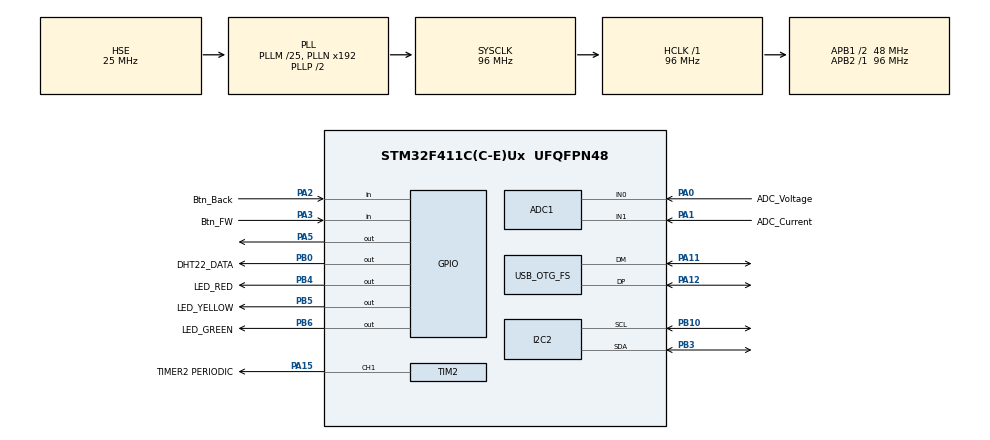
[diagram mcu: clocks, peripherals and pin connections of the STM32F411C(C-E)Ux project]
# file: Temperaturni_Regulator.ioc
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ADC1.Channel-1\#ChannelRegularConversion=ADC_CHANNEL_0
ADC1.Channel-2\#ChannelRegularConversion=ADC_CHANNEL_1
ADC1.Channel-5\#ChannelRegularConversion=ADC_CHANNEL_TEMPSENSOR
ADC1.DiscontinuousConvMode=ENABLE
ADC1.NbrOfConversion=3
ADC1.NbrOfConversionFlag=1
ADC1.NbrOfDiscConversion=3
ADC1.Rank-1\#ChannelRegularConversion=1
ADC1.Rank-2\#ChannelRegularConversion=2
ADC1.Rank-5\#ChannelRegularConversion=3
ADC1.SamplingTime-1\#ChannelRegularConversion=ADC_SAMPLETIME_112CYCLES
ADC1.SamplingTime-2\#ChannelRegularConversion=ADC_SAMPLETIME_112CYCLES
ADC1.SamplingTime-5\#ChannelRegularConversion=ADC_SAMPLETIME_480CYCLES
ADC1.master=1
Mcu.Family=STM32F4
Mcu.Name=STM32F411C(C-E)Ux
Mcu.Package=UFQFPN48
NVIC.OTG_FS_IRQn=true\:0\:0\:false\:false\:true\:true\:true\:true
NVIC.PriorityGroup=NVIC_PRIORITYGROUP_4
NVIC.TIM2_IRQn=true\:3\:0\:true\:false\:true\:true\:true\:true
NVIC.TIM3_IRQn=true\:0\:0\:false\:false\:true\:true\:true\:true
PA0-WKUP.GPIO_Label=ADC_Voltage
PA0-WKUP.Signal=ADCx_IN0
PA1.GPIO_Label=ADC_Current
PA1.Signal=ADCx_IN1
PA11.Mode=Device_Only
PA11.Signal=USB_OTG_FS_DM
PA12.Mode=Device_Only
PA12.Signal=USB_OTG_FS_DP
PA13.Mode=Serial_Wire
PA13.Signal=SYS_JTMS-SWDIO
PA14.Mode=Serial_Wire
PA14.Signal=SYS_JTCK-SWCLK
PA15.GPIO_Label=TIMER2 PERIODIC
PA15.Signal=S_TIM2_CH1_ETR
PA2.GPIO_Label=Btn_Back
PA2.Signal=GPIO_Input
PA3.GPIO_Label=Btn_FW
PA3.Signal=GPIO_Input
PA5.Signal=GPIO_Output
PB0.GPIO_Label=DHT22_DATA
PB0.GPIO_ModeDefaultOutputPP=GPIO_MODE_OUTPUT_OD
PB0.GPIO_PuPd=GPIO_PULLUP
PB0.GPIO_Speed=GPIO_SPEED_FREQ_HIGH
PB0.Signal=GPIO_Output
PB10.GPIO_Pu=GPIO_PULLUP
PB10.GPIO_Speed=GPIO_SPEED_FREQ_MEDIUM
PB10.Mode=I2C
PB10.Signal=I2C2_SCL
PB3.GPIO_Pu=GPIO_PULLUP
PB3.GPIO_Speed=GPIO_SPEED_FREQ_MEDIUM
PB3.Mode=I2C
PB3.Signal=I2C2_SDA
PB4.GPIO_Label=LED_RED
PB4.GPIO_Speed=GPIO_SPEED_FREQ_VERY_HIGH
PB4.Signal=GPIO_Output
PB5.GPIO_Label=LED_YELLOW
PB5.GPIO_Speed=GPIO_SPEED_FREQ_VERY_HIGH
PB5.Signal=GPIO_Output
PB6.GPIO_Label=LED_GREEN
PB6.GPIO_Speed=GPIO_SPEED_FREQ_VERY_HIGH
PB6.Signal=GPIO_Output
PH0\ -\ OSC_IN.Mode=HSE-External-Oscillator
PH0\ -\ OSC_IN.Signal=RCC_OSC_IN
PH1\ -\ OSC_OUT.Mode=HSE-External-Oscillator
PH1\ -\ OSC_OUT.Signal=RCC_OSC_OUT
ProjectManager.HeapSize=0x600
ProjectManager.StackSize=0x1000
ProjectManager.TargetToolchain=STM32CubeIDE
RCC.48MHZClocksFreq_Value=48000000
RCC.AHBFreq_Value=96000000
RCC.APB1CLKDivider=RCC_HCLK_DIV2
RCC.APB1Freq_Value=48000000
RCC.APB1TimFreq_Value=96000000
RCC.APB2Freq_Value=96000000
RCC.APB2TimFreq_Value=96000000
RCC.CortexFreq_Value=96000000
RCC.HCLKFreq_Value=96000000
RCC.HSE_VALUE=25000000
RCC.HSI_VALUE=16000000
RCC.LSE_VALUE=32768
RCC.PLLM=25
RCC.SYSCLKFreq_VALUE=96000000
RCC.SYSCLKSource=RCC_SYSCLKSOURCE_PLLCLK
RCC.VCOOutputFreq_Value=192000000
SH.ADCx_IN0.0=ADC1_IN0,IN0
SH.ADCx_IN1.0=ADC1_IN1,IN1
SH.S_TIM2_CH1_ETR.0=TIM2_CH1,PWM Generation1 CH1
TIM2.AutoReloadPreload=TIM_AUTORELOAD_PRELOAD_ENABLE
TIM2.Channel-PWM\ Generation1\ CH1=TIM_CHANNEL_1
TIM2.Period=19999
TIM2.Prescaler=99
TIM3.AutoReloadPreload=TIM_AUTORELOAD_PRELOAD_ENABLE
TIM3.Channel-Output\ Compare1\ No\ Output=TIM_CHANNEL_1
TIM3.Period=4999
TIM3.Prescaler=9999
USB_DEVICE.CLASS_NAME_FS=CDC
USB_DEVICE.MANUFACTURER_STRING=Joki
USB_DEVICE.PRODUCT_STRING_CDC_FS=STM32F411 Temperature Regulator by Joki
USB_DEVICE.VirtualMode=Cdc
USB_DEVICE.VirtualModeFS=Cdc_FS
USB_OTG_FS.VirtualMode=Device_Only
VP_ADC1_TempSens_Input.Mode=IN-TempSens
VP_ADC1_Vref_Input.Mode=IN-Vrefint
VP_TIM2_VS_ClockSourceINT.Mode=Internal
VP_TIM3_VS_ClockSourceINT.Mode=Internal
VP_TIM3_VS_no_output1.Mode=Output Compare1 No Output
VP_USB_DEVICE_VS_USB_DEVICE_CDC_FS.Mode=CDC_FS
board=custom

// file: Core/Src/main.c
/* USER CODE BEGIN Header */
/**
 ******************************************************************************
 * @file           : main.c
 * @brief          : Main program body
 ******************************************************************************
 * @attention
 *
 * Copyright (c) 2026 STMicroelectronics.
 * All rights reserved.
 *
 * This software is licensed under terms that can be found in the LICENSE file
 * in the root directory of this software component.
 * If no LICENSE file comes with this software, it is provided AS-IS.
 *
 ******************************************************************************
 */
/* USER CODE END Header */
#include "main.h"
#include "adc.h"
#include "i2c.h"
#include "tim.h"
#include "usb_device.h"
#include "gpio.h"

/* USER CODE BEGIN Includes */
#include "LCD/ssd1315.h"
#include "Sensors/dht22.h"
#include <stdio.h>
#include <stdbool.h>
#include "usbd_cdc_if.h"
/* USER CODE END Includes */

/* USER CODE BEGIN PV */
AppData_t guiData;
uint32_t last_tick;
DHT22_t dht_instance; //class ref
volatile _Bool trigger_adc_read;
volatile _Bool trigger_dht_read;
volatile _Bool usb_rx_buff_flag = 0;
volatile uint8_t usb_rx_buff[128];
volatile uint16_t usb_rx_buff_len;
/* USER CODE END PV */

void SystemClock_Config(void);

/* USER CODE BEGIN 0 */
void Usb_Rx_Draw(AppData_t *guiData) {
	if (usb_rx_buff_flag && usb_rx_buff_len > 0) {
		usb_rx_buff_flag = 0;
		usb_rx_buff[usb_rx_buff_len] = '\0';
		if (strncmp(usb_rx_buff, "T:", 2) == 0)
		{
			guiData->targetTemperature = strtof(&usb_rx_buff[2], NULL);
			guiData->currentState = STATE_TEMP_ADJUST;
		}
		else if (strncmp(usb_rx_buff, "H:", 2) == 0)
		{
			guiData->targetHumidity = strtof(&usb_rx_buff[2], NULL);
			guiData->currentState = STATE_HUM_ADJUST;
		}
		else if(strncmp(usb_rx_buff, "MenuTemp", 8) == 0)
		{
			guiData->currentState = STATE_TEMP_ADJUST;
		}
		else if(strncmp(usb_rx_buff, "MenuHum", 7) == 0)
		{
			guiData->currentState = STATE_HUM_ADJUST;
		}
		else if(strncmp(usb_rx_buff, "MenuPower", 9) == 0)
		{
			guiData->currentState = STATE_POWER;
		}
		else if(strncmp(usb_rx_buff, "MenuUsb", 7) == 0)
		{
			guiData->currentState = STATE_USB_RX;
		}
		else
		{
			guiData->currentState = STATE_USB_RX;
		}
		Menu_Draw(&hi2c2, &*guiData);
	}
}
void Dht_Read_Draw(DHT22_t *dht_instance) {
	if (trigger_dht_read && DHT22_Read(dht_instance)) {
		trigger_dht_read = 0;
		guiData.currentTemperature = dht_instance->temperature;
		guiData.currentHumidity = dht_instance->humidity;
		Menu_Draw(&hi2c2, &guiData);
		uint8_t usb_buf_temp[128];
		int len = sprintf((char*restrict) usb_buf_temp,
				"T:%.2f\n",
				guiData.currentTemperature);
		CDC_Transmit_FS((uint8_t*) usb_buf_temp, len);
		len = sprintf((char*restrict) usb_buf_temp,
				"H:%.2f\n",
				guiData.currentHumidity);
		CDC_Transmit_FS((uint8_t*) usb_buf_temp, len);

	}

	HAL_GPIO_WritePin(GPIOB, GPIO_PIN_4, guiData.targetTemperature > guiData.currentTemperature);
	HAL_GPIO_WritePin(GPIOB, GPIO_PIN_5, abs(guiData.targetTemperature - guiData.currentTemperature) < 1);
	HAL_GPIO_WritePin(GPIOB, GPIO_PIN_6, guiData.targetTemperature < guiData.currentTemperature);
}

void ADC_Read_Draw(volatile _Bool trigger_adc_read) {
	if (trigger_adc_read) {
		//12 bit adc
		trigger_adc_read = 0;
		uint32_t in0_val;
		uint32_t in1_val;
		uint32_t si_board_temp_val;
	    HAL_ADC_Start(&hadc1);
	    if (HAL_ADC_PollForConversion(&hadc1, 100) == HAL_OK) {
	        in0_val = HAL_ADC_GetValue(&hadc1);
	    }
	    HAL_ADC_Start(&hadc1);
	    if (HAL_ADC_PollForConversion(&hadc1, 100) == HAL_OK) {
	        in1_val = HAL_ADC_GetValue(&hadc1);
	    }
	    HAL_ADC_Start(&hadc1);
	    if (HAL_ADC_PollForConversion(&hadc1, 100) == HAL_OK) {
	        si_board_temp_val = HAL_ADC_GetValue(&hadc1);
	    }
	    HAL_ADC_Stop(&hadc1);
		float adc_max = 4095.0f;
		float in0_voltage = (in0_val / adc_max) * 3.3f;
		float shunt_in1_voltage = (in1_val / adc_max) * 3.3f;
		float si_temp_voltage = ((float) si_board_temp_val / (float) adc_max) * 3300.0f;

		float shunt_resistance = 1; //triba se izmirit multimetron tocno
		float shunt_current = shunt_in1_voltage / shunt_resistance;
		float si_temp = ((si_temp_voltage - 760.0f) / 2.5f) + 25.0f; //formula sa stm32 stranice

		guiData.system_voltage = in0_voltage;
		guiData.system_current = shunt_current;
		guiData.silicon_temp = si_temp;
	}
}

/* USER CODE END 0 */

int main(void)
{

  /* MCU Configuration--------------------------------------------------------*/

  /* Reset of all peripherals, Initializes the Flash interface and the Systick. */
  HAL_Init();

  /* Configure the system clock */
  SystemClock_Config();

  /* Initialize all configured peripherals */
  MX_GPIO_Init();
  MX_ADC1_Init();
  MX_TIM2_Init();
  MX_I2C2_Init();
  MX_TIM3_Init();
  MX_USB_DEVICE_Init();

  /* Infinite loop */
  /* USER CODE BEGIN WHILE */
	init_all();
	while (1)
	{
    /* USER CODE END WHILE */

    /* USER CODE BEGIN 3 */
		Dht_Read_Draw(&dht_instance);
		Usb_Rx_Draw(&guiData);
		ADC_Read_Draw(trigger_adc_read);
	}
  /* USER CODE END 3 */
}

void SystemClock_Config(void)
{
  RCC_OscInitTypeDef RCC_OscInitStruct = {0};
  RCC_ClkInitTypeDef RCC_ClkInitStruct = {0};

  /** Configure the main internal regulator output voltage
  */
  __HAL_RCC_PWR_CLK_ENABLE();
  __HAL_PWR_VOLTAGESCALING_CONFIG(PWR_REGULATOR_VOLTAGE_SCALE1);

  /** Initializes the RCC Oscillators according to the specified parameters
  * in the RCC_OscInitTypeDef structure.
  */
  RCC_OscInitStruct.OscillatorType = RCC_OSCILLATORTYPE_HSE;
  RCC_OscInitStruct.HSEState = RCC_HSE_ON;
  RCC_OscInitStruct.PLL.PLLState = RCC_PLL_ON;
  RCC_OscInitStruct.PLL.PLLSource = RCC_PLLSOURCE_HSE;
  RCC_OscInitStruct.PLL.PLLM = 25;
  RCC_OscInitStruct.PLL.PLLN = 192;
  RCC_OscInitStruct.PLL.PLLP = RCC_PLLP_DIV2;
  RCC_OscInitStruct.PLL.PLLQ = 4;
  if (HAL_RCC_OscConfig(&RCC_OscInitStruct) != HAL_OK)
  {
    Error_Handler();
  }

  /** Initializes the CPU, AHB and APB buses clocks
  */
  RCC_ClkInitStruct.ClockType = RCC_CLOCKTYPE_HCLK|RCC_CLOCKTYPE_SYSCLK
                              |RCC_CLOCKTYPE_PCLK1|RCC_CLOCKTYPE_PCLK2;
  RCC_ClkInitStruct.SYSCLKSource = RCC_SYSCLKSOURCE_PLLCLK;
  RCC_ClkInitStruct.AHBCLKDivider = RCC_SYSCLK_DIV1;
  RCC_ClkInitStruct.APB1CLKDivider = RCC_HCLK_DIV2;
  RCC_ClkInitStruct.APB2CLKDivider = RCC_HCLK_DIV1;

  if (HAL_RCC_ClockConfig(&RCC_ClkInitStruct, FLASH_LATENCY_3) != HAL_OK)
  {
    Error_Handler();
  }
}

/* USER CODE BEGIN 4 */
void Servo_Init(void) {
	HAL_TIM_PWM_Start(&htim2, TIM_CHANNEL_1);
}

void Servo_SetAngle(uint8_t angle) {
	if (angle > 180) angle = 180;

	float pulse_width = (((1830.0f) / 180.0f) * angle) + 500.0f; //nastelano da bude accurate

	__HAL_TIM_SET_COMPARE(&htim2, TIM_CHANNEL_1, pulse_width);
}
void init_all()
{
	Menu_Init(&guiData);
	SSD1315_Init(&hi2c2);
	Menu_Draw(&hi2c2, &guiData);
	char buff[24];
	sprintf(buff, "DHT22 : ...");
	SSD1315_DrawString(10, 20, buff);
	SSD1315_UpdateScreen(&hi2c2);
	DHT22_Init(&dht_instance, &htim3, GPIOB, GPIO_PIN_0);
	sprintf(buff, "DHT22 : %s", dht_instance.init_ok ? "Ok" : "Failed");
	SSD1315_DrawString(10, 20, buff);
	SSD1315_UpdateScreen(&hi2c2);
	sprintf(buff, "Timers : ...");
	SSD1315_DrawString(10, 36, buff);
	SSD1315_UpdateScreen(&hi2c2);
	Servo_Init();
	HAL_TIM_Base_Start_IT(&htim3);
	sprintf(buff, "Timers : Ok");
	SSD1315_DrawString(10, 36, buff);
	SSD1315_UpdateScreen(&hi2c2);

	sprintf(buff, "ADC : ...");
	SSD1315_DrawString(10, 20, buff);
	SSD1315_UpdateScreen(&hi2c2);
	sprintf(buff, "ADC : %s", HAL_ADC_Start(&hadc1) == HAL_OK ? "Ok" : "Failed");
	SSD1315_DrawString(10, 20, buff);
	SSD1315_UpdateScreen(&hi2c2);
	sprintf(buff, "USB-OTG : ...");
	SSD1315_DrawString(10, 36, buff);
	SSD1315_UpdateScreen(&hi2c2);
	MX_USB_DEVICE_Init();
	guiData.ptrToUsbBuff = (uint8_t*) usb_rx_buff;
	guiData.ptrToUsbBuffLen = (uint16_t*) &usb_rx_buff_len;
	sprintf(buff, "USB-OTG : Ok");
	SSD1315_DrawString(10, 36, buff);
	SSD1315_UpdateScreen(&hi2c2);
	sprintf(buff, "Servo test: ");
	SSD1315_DrawString(10, 54, buff);
	SSD1315_UpdateScreen(&hi2c2);
	Servo_SetAngle(180);
	HAL_Delay(250);
	Servo_SetAngle(0);
	sprintf(buff, "Servo test: Done");
	SSD1315_DrawString(10, 54, buff);
	SSD1315_UpdateScreen(&hi2c2);
	guiData.currentState = STATE_POWER;
	Menu_Draw(&hi2c2, &guiData);
}

void HAL_TIM_PeriodElapsedCallback(TIM_HandleTypeDef *htim) {
	if (htim->Instance == TIM3) {
		trigger_dht_read = true;
		trigger_adc_read = true;
	}
}
/* USER CODE END 4 */

void Error_Handler(void)
{
	__disable_irq();
	while (1)
	{
	}
}
